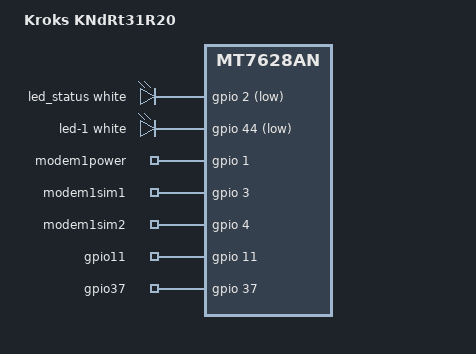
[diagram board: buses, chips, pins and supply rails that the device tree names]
#include "mt7628an_kroks_4eth.dtsi"

#include <dt-bindings/leds/common.h>

/ {
	compatible = "kroks,kndrt31r20", "mediatek,mt7628an-soc";
	model = "Kroks KNdRt31R20";

	aliases {
		led-boot = &led_status;
		led-failsafe = &led_status;
		led-running = &led_status;
		led-upgrade = &led_status;
	};

	gpio-leds {
		compatible = "gpio-leds";

		led_status: led-0 {
			color = <LED_COLOR_ID_WHITE>;
			gpios = <&gpio 2 GPIO_ACTIVE_LOW>;
			function = LED_FUNCTION_STATUS;
		};

		led-1 {
			color = <LED_COLOR_ID_WHITE>;
			gpios = <&gpio 44 GPIO_ACTIVE_LOW>;
			function = LED_FUNCTION_WLAN;
			linux,default-trigger = "phy0tpt";
		};
	};

	gpio_export {
		compatible = "gpio-export";
		#size-cells = <0>;

		modem1power {
			gpio-export,name = "modem1power";
			gpio-export,output = <1>;
			gpios = <&gpio 1 GPIO_ACTIVE_HIGH>;
		};

		modem1sim1 {
			gpio-export,name = "modem1sim1";
			gpio-export,output = <1>;
			gpios = <&gpio 3 GPIO_ACTIVE_HIGH>;
		};

		modem1sim2 {
			gpio-export,name = "modem1sim2";
			gpio-export,output = <0>;
			gpios = <&gpio 4 GPIO_ACTIVE_HIGH>;
		};

		/* deprecated */
		gpio11 {
			gpio-export,name = "gpio11";
			gpios = <&gpio 11 GPIO_ACTIVE_HIGH>;
		};

		/* deprecated */
		gpio37 {
			gpio-export,name = "gpio37";
			gpio-export,output = <0>;
			gpios = <&gpio 37 GPIO_ACTIVE_HIGH>;
		};
	};
};

&state_default {
	gpio {
		groups = "i2s", "i2c", "wled_an";
		function = "gpio";
	};

	/* deprecated */
	gpio_kdevice {
		groups = "gpio", "refclk";
		function = "gpio";
	};
};
